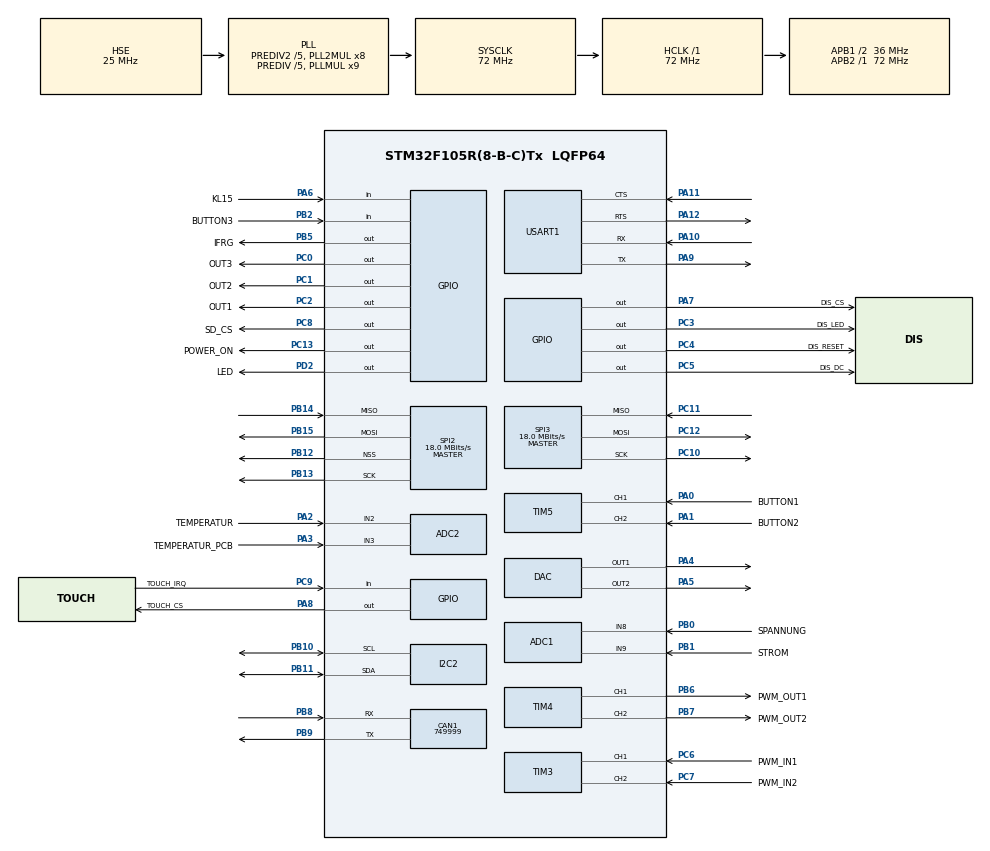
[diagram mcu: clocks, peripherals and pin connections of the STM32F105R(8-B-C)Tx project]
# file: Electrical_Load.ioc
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ADC1.Channel-1\#ChannelRegularConversion=ADC_CHANNEL_8
ADC1.NbrOfConversionFlag=1
ADC1.Rank-1\#ChannelRegularConversion=1
ADC1.SamplingTime-1\#ChannelRegularConversion=ADC_SAMPLETIME_1CYCLE_5
ADC1.master=1
ADC2.Channel-0\#ChannelRegularConversion=ADC_CHANNEL_2
ADC2.NbrOfConversionFlag=1
ADC2.Rank-0\#ChannelRegularConversion=1
ADC2.SamplingTime-0\#ChannelRegularConversion=ADC_SAMPLETIME_1CYCLE_5
CAN1.BS1=CAN_BS1_1TQ
CAN1.BS2=CAN_BS2_1TQ
CAN1.CalculateBaudRate=749999
CAN1.CalculateTimeBit=1333
CAN1.CalculateTimeQuantum=444.44444444444446
Mcu.Family=STM32F1
Mcu.Name=STM32F105R(8-B-C)Tx
Mcu.Package=LQFP64
NVIC.PriorityGroup=NVIC_PRIORITYGROUP_4
PA0-WKUP.GPIO_Label=BUTTON1
PA0-WKUP.Signal=S_TIM5_CH1
PA1.GPIO_Label=BUTTON2
PA1.Signal=S_TIM5_CH2
PA10.Mode=Asynchronous
PA10.Signal=USART1_RX
PA11.Mode=CTS_RTS
PA11.Signal=USART1_CTS
PA12.Mode=CTS_RTS
PA12.Signal=USART1_RTS
PA13.Mode=JTAG_5_pins
PA13.Signal=SYS_JTMS-SWDIO
PA14.Mode=JTAG_5_pins
PA14.Signal=SYS_JTCK-SWCLK
PA15.Mode=JTAG_5_pins
PA15.Signal=SYS_JTDI
PA2.GPIO_Label=TEMPERATUR
PA2.Signal=ADCx_IN2
PA3.GPIO_Label=TEMPERATUR_PCB
PA3.Signal=ADCx_IN3
PA4.Signal=COMP_DAC1_group
PA5.Signal=COMP_DAC2_group
PA6.GPIO_Label=KL15
PA6.Signal=GPIO_Input
PA7.GPIO_Label=DIS_CS
PA7.Signal=GPIO_Output
PA8.GPIO_Label=TOUCH_CS
PA8.Signal=GPIO_Output
PA9.Mode=Asynchronous
PA9.Signal=USART1_TX
PB0.GPIO_Label=SPANNUNG
PB0.Signal=ADCx_IN8
PB1.GPIO_Label=STROM
PB1.Signal=ADCx_IN9
PB10.Mode=I2C
PB10.Signal=I2C2_SCL
PB11.Mode=I2C
PB11.Signal=I2C2_SDA
PB12.Mode=NSS_Signal_Hard_Output
PB12.Signal=SPI2_NSS
PB13.Mode=Full_Duplex_Master
PB13.Signal=SPI2_SCK
PB14.Mode=Full_Duplex_Master
PB14.Signal=SPI2_MISO
PB15.Mode=Full_Duplex_Master
PB15.Signal=SPI2_MOSI
PB2.GPIO_Label=BUTTON3
PB2.Signal=GPIO_Input
PB3.Mode=JTAG_5_pins
PB3.Signal=SYS_JTDO
PB4.Mode=JTAG_5_pins
PB4.Signal=SYS_NJTRST
PB5.GPIO_Label=IFRG
PB5.Signal=GPIO_Output
PB6.GPIO_Label=PWM_OUT1
PB6.Signal=S_TIM4_CH1
PB7.GPIO_Label=PWM_OUT2
PB7.Signal=S_TIM4_CH2
PB8.Mode=CAN_Activate
PB8.Signal=CAN1_RX
PB9.Mode=CAN_Activate
PB9.Signal=CAN1_TX
PC0.GPIO_Label=OUT3
PC0.Signal=GPIO_Output
PC1.GPIO_Label=OUT2
PC1.Signal=GPIO_Output
PC10.Mode=Full_Duplex_Master
PC10.Signal=SPI3_SCK
PC11.Mode=Full_Duplex_Master
PC11.Signal=SPI3_MISO
PC12.Mode=Full_Duplex_Master
PC12.Signal=SPI3_MOSI
PC13-TAMPER-RTC.GPIO_Label=POWER_ON
PC13-TAMPER-RTC.Signal=GPIO_Output
PC14-OSC32_IN.Mode=LSE-External-Oscillator
PC14-OSC32_IN.Signal=RCC_OSC32_IN
PC15-OSC32_OUT.Mode=LSE-External-Oscillator
PC15-OSC32_OUT.Signal=RCC_OSC32_OUT
PC2.GPIO_Label=OUT1
PC2.Signal=GPIO_Output
PC3.GPIO_Label=DIS_LED
PC3.Signal=GPIO_Output
PC4.GPIO_Label=DIS_RESET
PC4.Signal=GPIO_Output
PC5.GPIO_Label=DIS_DC
PC5.Signal=GPIO_Output
PC6.GPIO_Label=PWM_IN1
PC6.Signal=S_TIM3_CH1
PC7.GPIO_Label=PWM_IN2
PC7.Signal=S_TIM3_CH2
PC8.GPIO_Label=SD_CS
PC8.Signal=GPIO_Output
PC9.GPIO_Label=TOUCH_IRQ
PC9.Signal=GPIO_Input
PD0-OSC_IN.Mode=HSE-External-Oscillator
PD0-OSC_IN.Signal=RCC_OSC_IN
PD1-OSC_OUT.Mode=HSE-External-Oscillator
PD1-OSC_OUT.Signal=RCC_OSC_OUT
PD2.GPIO_Label=LED
PD2.Signal=GPIO_Output
ProjectManager.HeapSize=0x200
ProjectManager.StackSize=0x400
ProjectManager.TargetToolchain=STM32CubeIDE
RCC.ADCPresc=RCC_ADCPCLK2_DIV6
RCC.AHBFreq_Value=72000000
RCC.APB1CLKDivider=RCC_HCLK_DIV2
RCC.APB1Freq_Value=36000000
RCC.APB1TimFreq_Value=72000000
RCC.APB2Freq_Value=72000000
RCC.APB2TimFreq_Value=72000000
RCC.HCLKFreq_Value=72000000
RCC.HSEDivPLL=RCC_HSE_PREDIV_DIV5
RCC.HSE_VALUE=25000000
RCC.PLLMUL=RCC_PLL_MUL9
RCC.PLLSourceVirtual=RCC_PLLSOURCE_HSE
RCC.Prediv1Source=RCC_PREDIV1_SOURCE_PLL2
RCC.Prediv2=RCC_HSE_PREDIV2_DIV5
RCC.SYSCLKFreq_VALUE=72000000
RCC.SYSCLKSource=RCC_SYSCLKSOURCE_PLLCLK
RCC.USBFreq_Value=48000000
SH.ADCx_IN2.0=ADC2_IN2,IN2
SH.ADCx_IN3.0=ADC2_IN3,IN3
SH.ADCx_IN8.0=ADC1_IN8,IN8
SH.ADCx_IN9.0=ADC1_IN9,IN9
SH.COMP_DAC1_group.0=DAC_OUT1,DAC_OUT1
SH.COMP_DAC2_group.0=DAC_OUT2,DAC_OUT2
SH.S_TIM3_CH1.0=TIM3_CH1,Encoder_Interface
SH.S_TIM3_CH2.0=TIM3_CH2,Encoder_Interface
SH.S_TIM4_CH1.0=TIM4_CH1,PWM Generation1 CH1
SH.S_TIM4_CH2.0=TIM4_CH2,PWM Generation2 CH2
SH.S_TIM5_CH1.0=TIM5_CH1,Encoder_Interface
SH.S_TIM5_CH2.0=TIM5_CH2,Encoder_Interface
SPI2.BaudRatePrescaler=SPI_BAUDRATEPRESCALER_2
SPI2.CalculateBaudRate=18.0 MBits/s
SPI2.Direction=SPI_DIRECTION_2LINES
SPI2.Mode=SPI_MODE_MASTER
SPI2.VirtualNSS=VM_NSSHARD
SPI2.VirtualType=VM_MASTER
SPI3.BaudRatePrescaler=SPI_BAUDRATEPRESCALER_2
SPI3.CalculateBaudRate=18.0 MBits/s
SPI3.Direction=SPI_DIRECTION_2LINES
SPI3.Mode=SPI_MODE_MASTER
SPI3.VirtualType=VM_MASTER
TIM4.Channel-PWM\ Generation1\ CH1=TIM_CHANNEL_1
TIM4.Channel-PWM\ Generation2\ CH2=TIM_CHANNEL_2
TIM5.AutoReloadPreload=TIM_AUTORELOAD_PRELOAD_ENABLE
TIM5.IC1Filter=10
USART1.VirtualMode=VM_ASYNC
VP_ADC1_TempSens_Input.Mode=IN-TempSens
VP_ADC1_Vref_Input.Mode=IN-Vrefint
board=custom

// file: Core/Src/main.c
/* USER CODE BEGIN Header */
/**
  ******************************************************************************
  * @file           : main.c
  * @brief          : Main program body
  ******************************************************************************
  * @attention
  *
  * Copyright (c) 2025 STMicroelectronics.
  * All rights reserved.
  *
  * This software is licensed under terms that can be found in the LICENSE file
  * in the root directory of this software component.
  * If no LICENSE file comes with this software, it is provided AS-IS.
  *
  ******************************************************************************
  */
/* USER CODE END Header */
#include "main.h"
#include "adc.h"
#include "can.h"
#include "dac.h"
#include "i2c.h"
#include "spi.h"
#include "tim.h"
#include "usart.h"
#include "gpio.h"

/* USER CODE BEGIN Includes */
#include "adc_input.h"
#include "ili9341.h"
#include "menu.h"
#include "millis.h"
#include "my_math.h"
#include "temperatur.h"
/* USER CODE END Includes */

/* USER CODE BEGIN PV */
// IMD Variablen fuer Timer
static volatile uint16_t rising = 0, falling = 0;
static volatile uint8_t pwm_change = 1;
/* USER CODE END PV */

void SystemClock_Config(void);

int main(void)
{

  /* USER CODE BEGIN 1 */
	// Timer Variablen
	uint32_t timer3Periode = 0;
	uint16_t frequency = 0, rpm = 0, encoder = 0;
	uint32_t lasttimeloop = 0;

	// AD-Wandler Variablen
	double spannung = 0, strom = 0;
	uint16_t vint = 0, stm_temp = 0, pcb_temp = 0, vcc = 0, ext_temp = 0;
	uint16_t adc_spannung = 0, adc_strom = 0, adc_vref = 0;
	uint16_t adc_stm_temp = 0, adc_ext_temp = 0, adc_pcb_temp = 0;

	// Min. Luefter PWM fuer Anlauf
	uint16_t count = 10000;
  /* USER CODE END 1 */

  /* MCU Configuration--------------------------------------------------------*/

  /* Reset of all peripherals, Initializes the Flash interface and the Systick. */
  HAL_Init();

  /* Configure the system clock */
  SystemClock_Config();

  /* Initialize all configured peripherals */
  MX_GPIO_Init();
  MX_ADC1_Init();
  MX_ADC2_Init();
  MX_CAN1_Init();
  MX_DAC_Init();
  MX_I2C2_Init();
  MX_SPI2_Init();
  MX_SPI3_Init();
  MX_TIM3_Init();
  MX_TIM4_Init();
  MX_USART1_UART_Init();
  MX_TIM5_Init();
  /* USER CODE BEGIN 2 */

	// DAC auf null setzen
	DAC1->DHR12R1 = 0;
	DAC1->DHR12R2 = 0;
//	HAL_DACEx_DualStart(&hdac);
//	HAL_DACEx_DualSetValue(&hdac, DAC_ALIGN_12B_R, 0, 0);

	// Timer Starten
	HAL_TIM_PWM_Start(&htim4, TIM_CHANNEL_1);
	HAL_TIM_Encoder_Start(&htim5, TIM_CHANNEL_ALL);

	// DAC Starten
//	HAL_DAC_Start(&hdac, DAC1_CHANNEL_1);
//	HAL_DAC_Start(&hdac, DAC1_CHANNEL_2);

	// ADC kalibrieren, damit Ergebnis valide. Zwingend erforderlich
	HAL_ADCEx_Calibration_Start(&hadc1);
	HAL_ADCEx_Calibration_Start(&hadc2);

	// Display einschalten und initialisieren
	ILI9341_LedON();
	ILI9341_Unselect();
	ILI9341_Init();

	// Willkommen
	RenderWelcome();

	// Freigabe loeschen
	HAL_GPIO_WritePin(IFRG_GPIO_Port, IFRG_Pin, GPIO_PIN_RESET);

	// Timer 3 fuer Luefter PWM-Eingang aktivieren
	if (HAL_TIM_Base_Init(&htim3) != HAL_OK);
	if (HAL_TIM_IC_Start_IT(&htim3, TIM_CHANNEL_1) != HAL_OK);
	if (HAL_TIM_IC_Start_IT(&htim3, TIM_CHANNEL_2) != HAL_OK);
	timer3Periode = (HAL_RCC_GetPCLK2Freq() / htim3.Init.Prescaler);

	// Menu Ausgeben
	RenderMenu();

	ILI9341_WriteString(40, 134, " 120.4V", Font_16x26, ILI9341_BLACK, ILI9341_RED);
	ILI9341_WriteString(200, 134, " 120.4A", Font_16x26, ILI9341_BLACK, ILI9341_YELLOW);
	ILI9341_WriteString(40, 164, " 120.4W", Font_16x26, ILI9341_BLACK, ILI9341_BLUE);
	ILI9341_WriteString(5, 220, "24,6 C", Font_11x18, ILI9341_BLACK, ILI9341_GREEN);
	ILI9341_WriteString(85, 220, "25,4 C", Font_11x18, ILI9341_BLACK, ILI9341_GREEN);
	ILI9341_WriteString(225, 220, "     RPM", Font_11x18, ILI9341_BLACK, ILI9341_YELLOW);

	HAL_GPIO_WritePin(LED_GPIO_Port, LED_Pin, GPIO_PIN_SET);

	// Min. Luefter PWM fuer Betrieb
	count = 0;
	TIM4->CCR1 = count;
	HAL_Delay(500);

  /* USER CODE END 2 */

  /* Infinite loop */
  /* USER CODE BEGIN WHILE */
  while (1)
  {
	  adc_spannung = readADC(&hadc1, ADC_CHANNEL_8);
	  adc_strom = readADC(&hadc1, ADC_CHANNEL_9);
	  adc_vref = readADC(&hadc1, ADC_CHANNEL_VREFINT);
	  adc_stm_temp = readADC(&hadc1, ADC_CHANNEL_TEMPSENSOR);
	  adc_ext_temp = readADC(&hadc2, ADC_CHANNEL_2);
	  adc_pcb_temp = readADC(&hadc2, ADC_CHANNEL_3);
    /* USER CODE END WHILE */

    /* USER CODE BEGIN 3 */
	  if (adc_strom >= 100)
		  DAC->DHR12R1 = 0;

	  if (millis() > (lasttimeloop + 1000))
	  {
		  encoder = __HAL_TIM_GET_COUNTER(&htim5);
		  RenderInt(225, 10, encoder);
		  drehencoder(encoder);

		  // Wenn sich der Pegel am Luefter Tacho aendert
		  if (pwm_change == 1)
		  {
			  if (rising != 0 && falling != 0)
			  {
				  // Berechne Frequenzy von Luefter-Tacho, Pro Umdrehung 2 Pulse, daher mal 30 um U/min
				  frequency = timer3Periode / rising;
				  rpm = frequency * 30;
			  }

			  pwm_change = 0;
			  RenderInt(225, 220, rpm);
		  }

		  vint = adc_vref * ADC_VREF / ADC_MAX_VALUE;
		  vcc = vint * ADC_MAX_VALUE / adc_vref;
		  RenderInt(85, 10, vint);
		  RenderInt(165, 10, vcc);

		  stm_temp = temperatur(adc_stm_temp, STM32F105);
		  RenderInt(165, 195, stm_temp);

		  ext_temp = temperatur(adc_ext_temp, NTCS0603E3472FHT);
		  RenderInt(245, 195, ext_temp);

		  strom = ((((adc_strom / ADC_MAX_VALUE) * (VOLTAGE_MAX / 100.0)) / (1.0 + (CURRENT_R1 / CURRENT_R2))) / (CURRENT_SHUNT / 1000.0));
		  RenderFloat(85, 195, strom);

		  pcb_temp = temperatur(adc_pcb_temp, NTCS0603E3472FHT);
		  RenderInt(245, 195, pcb_temp);

//		  ADC_old = (ADC_old + ((ADC_Wert- ADC_old) / 10));
//		  spannung = ((((float)ADC_Wert / ADC_MAX_VALUE) * ((VOLTAGE_PRERESISTOR + VOLTAGE_R0) / VOLTAGE_R0)) * (VOLTAGE_MAX / 100.0));
		  spannung = ((((float)adc_spannung * ADC_VREF/100.0) / ADC_MAX_VALUE) * 45.0/27.0);
		  spannung = (spannung * 462.0/22.0);
		  RenderFloat(5, 195, spannung);
		  RenderInt(5, 10, adc_spannung);

		  HAL_GPIO_TogglePin(LED_GPIO_Port, LED_Pin);

		  lasttimeloop = millis();
	  }
  }
  /* USER CODE END 3 */
}

void SystemClock_Config(void)
{
  RCC_OscInitTypeDef RCC_OscInitStruct = {0};
  RCC_ClkInitTypeDef RCC_ClkInitStruct = {0};
  RCC_PeriphCLKInitTypeDef PeriphClkInit = {0};

  /** Initializes the RCC Oscillators according to the specified parameters
  * in the RCC_OscInitTypeDef structure.
  */
  RCC_OscInitStruct.OscillatorType = RCC_OSCILLATORTYPE_HSE;
  RCC_OscInitStruct.HSEState = RCC_HSE_ON;
  RCC_OscInitStruct.HSEPredivValue = RCC_HSE_PREDIV_DIV5;
  RCC_OscInitStruct.HSIState = RCC_HSI_ON;
  RCC_OscInitStruct.Prediv1Source = RCC_PREDIV1_SOURCE_PLL2;
  RCC_OscInitStruct.PLL.PLLState = RCC_PLL_ON;
  RCC_OscInitStruct.PLL.PLLSource = RCC_PLLSOURCE_HSE;
  RCC_OscInitStruct.PLL.PLLMUL = RCC_PLL_MUL9;
  RCC_OscInitStruct.PLL2.PLL2State = RCC_PLL2_ON;
  RCC_OscInitStruct.PLL2.PLL2MUL = RCC_PLL2_MUL8;
  RCC_OscInitStruct.PLL2.HSEPrediv2Value = RCC_HSE_PREDIV2_DIV5;
  if (HAL_RCC_OscConfig(&RCC_OscInitStruct) != HAL_OK)
  {
    Error_Handler();
  }

  /** Initializes the CPU, AHB and APB buses clocks
  */
  RCC_ClkInitStruct.ClockType = RCC_CLOCKTYPE_HCLK|RCC_CLOCKTYPE_SYSCLK
                              |RCC_CLOCKTYPE_PCLK1|RCC_CLOCKTYPE_PCLK2;
  RCC_ClkInitStruct.SYSCLKSource = RCC_SYSCLKSOURCE_PLLCLK;
  RCC_ClkInitStruct.AHBCLKDivider = RCC_SYSCLK_DIV1;
  RCC_ClkInitStruct.APB1CLKDivider = RCC_HCLK_DIV2;
  RCC_ClkInitStruct.APB2CLKDivider = RCC_HCLK_DIV1;

  if (HAL_RCC_ClockConfig(&RCC_ClkInitStruct, FLASH_LATENCY_2) != HAL_OK)
  {
    Error_Handler();
  }
  PeriphClkInit.PeriphClockSelection = RCC_PERIPHCLK_ADC;
  PeriphClkInit.AdcClockSelection = RCC_ADCPCLK2_DIV6;
  if (HAL_RCCEx_PeriphCLKConfig(&PeriphClkInit) != HAL_OK)
  {
    Error_Handler();
  }

  /** Configure the Systick interrupt time
  */
  __HAL_RCC_PLLI2S_ENABLE();
}

/* USER CODE BEGIN 4 */
// Timer Interrupt
void HAL_TIM_IC_CaptureCallback(TIM_HandleTypeDef *htim)
{
	// Timer 3 fuer Luefter PWM-Auswertung
	if (htim == &htim3)
	{
		pwm_change = 1;
		if (htim->Channel == HAL_TIM_ACTIVE_CHANNEL_1)
		{
			rising = calculateMovingAverage(rising, HAL_TIM_ReadCapturedValue(&htim3, TIM_CHANNEL_1), 10);
		}
		else if (htim->Channel == HAL_TIM_ACTIVE_CHANNEL_2)
		{
			falling = calculateMovingAverage(falling, HAL_TIM_ReadCapturedValue(&htim3, TIM_CHANNEL_2), 10);
		}
	}
}
/* USER CODE END 4 */

void Error_Handler(void)
{
  __disable_irq();
  while (1)
  {
  }
}
